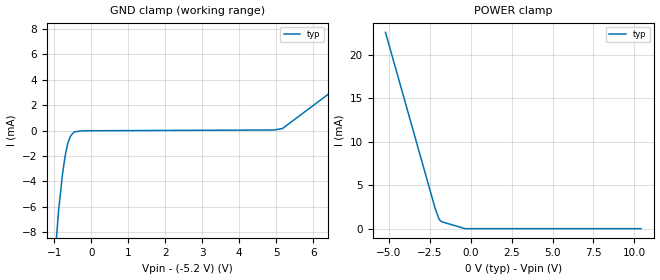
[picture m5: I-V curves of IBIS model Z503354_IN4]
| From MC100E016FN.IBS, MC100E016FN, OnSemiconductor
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| (C) COPYRIGHT 1993-2000
| MENTOR GRAPHICS CORPORATION
| ICX STANDARD LIBRARY, ICX PROJECT MODELING,
| ICX CUSTOM MODELING, ICX VENDOR MODEL
| ALL RIGHTS RESERVED.
| THE FOLLOWING ARE TRADEMARKS OR SERVICE MARKS OF
| MENTOR GRAPHICS CORPORATION:ICX (R), ICX STANDARD
| LIBRARY(R), ICX PROJECT MODELING(R), ICX CUSTOM
| MODELING(R), qualityIBIS(TM), MODELVIEWER(TM),
| AND MODELEDITOR(TM)
| ALL COPIES OF SOFTWARE, INCLUDING BUT NOT LIMITED TO
| ANY MODIFICATIONS, ENHANCEMENTS OR DERIVATIVE WORKS,
| MUST CONTAIN ALL MENTOR GRAPHICS CORPORATION'S
| NOTICES AND LEGENDS, INCLUDING THOSE EMBEDDED IN
| SOFTWARE AND THOSE AFFIXED TO SOFTWARE MEDIUM
| AND CONTAINER, AS RECEIVED FROM MENTOR GRAPHICS
| CORPORATION.
| Model Application Version 1.89 2/18/99.
[Model] Z503354_IN4
Model_type Input_ECL
Vinl = -1.475V
Vinh = -1.165V
C_comp 4.000pF NA NA
| variable typ   min   max
[Voltage Range] -5.200V NA NA
[GND Clamp Reference] -5.200V NA NA
[POWER Clamp Reference] 0.000V NA NA
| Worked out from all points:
|   GND clamp passes 1 mA (typ) near -0.63 V on its own axis
|   POWER clamp passes 1 mA (typ) near -1.89 V on its own axis
[GND Clamp]
-5.2V     -234mA     NA         NA
-1.072V   -13.47mA   NA         NA
-884mV    -6.287mA   NA         NA
-776mV    -3.381mA   NA         NA
-707mV    -2.011mA   NA         NA
-640mV    -1.052mA   NA         NA
-567mV    -474.1uA   NA         NA
-449mV    -95.58uA   NA         NA
-224.5mV  -19.42uA   NA         NA
4.934V    41.56uA    NA         NA
5.171V    159.3uA    NA         NA
10.4V     11.56mA    NA         NA
[POWER Clamp]
-5.2V     22.56mA    NA         NA
-2.173V   2.364mA    NA         NA
-1.968V   1.274mA    NA         NA
-1.89V    985.7uA    NA         NA
-1.758V   786.5uA    NA         NA
-668.9mV  184.3uA    NA         NA
-334.5mV  0A         NA         NA
10.4V     0A         NA         NA
